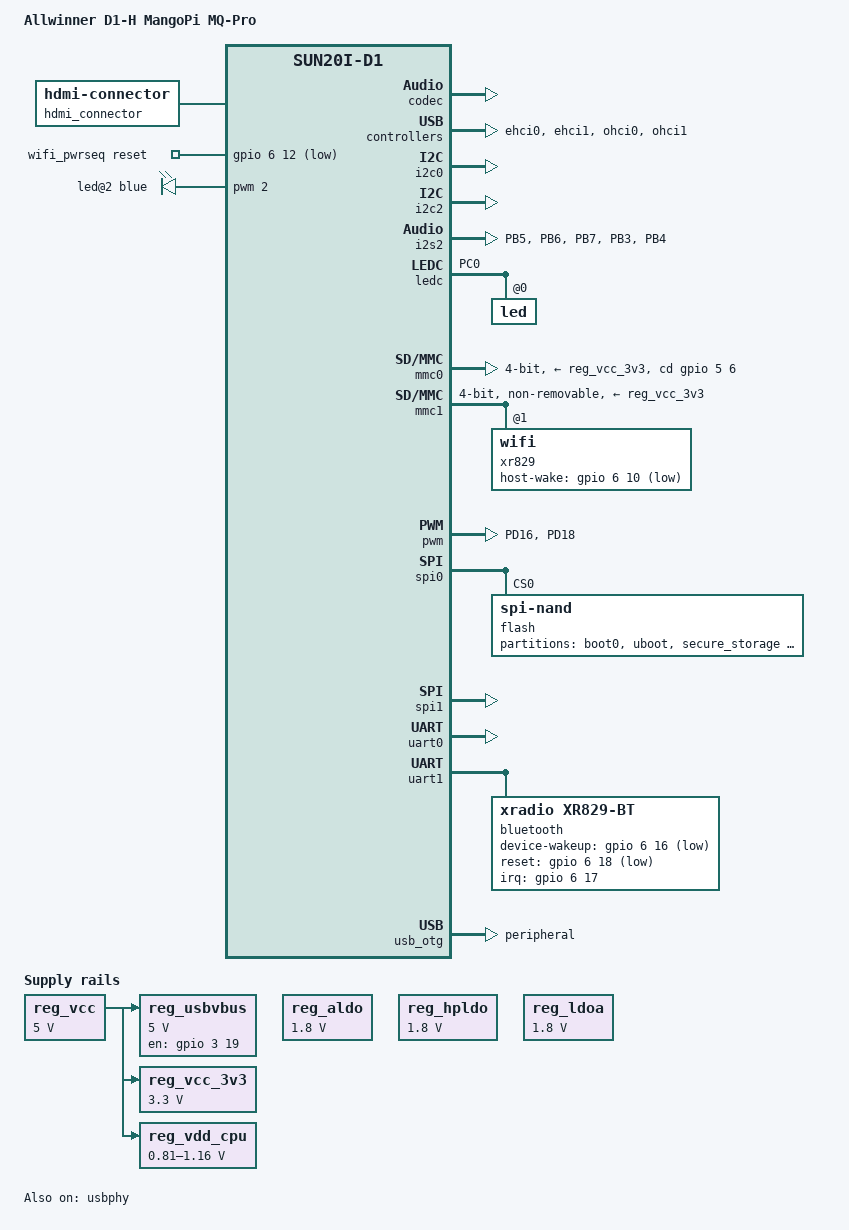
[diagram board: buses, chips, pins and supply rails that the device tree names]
// SPDX-License-Identifier: (GPL-2.0+ or MIT)
// Copyright (C) 2021 Samuel Holland <samuel@sholland.org>

/dts-v1/;

#include "sun20i-d1.dtsi"

#include <dt-bindings/gpio/gpio.h>
#include <dt-bindings/input/input.h>
#include <dt-bindings/leds/common.h>
#include <dt-bindings/pwm/pwm.h>

/ {
	model = "Allwinner D1-H MangoPi MQ-Pro";
	compatible = "allwinner,d1-mangopi-mq-pro", "allwinner,sun20i-d1";

	aliases {
		mmc0 = &mmc0;
		mmc1 = &mmc1;
		mmc2 = &mmc2;
		serial0 = &uart0;
		spi0 = &spi0;
	};

	chosen {
		stdout-path = "serial0:115200n8";
	};

	hdmi_connector: connector {
		compatible = "hdmi-connector";
		type = "a";

		port {
			hdmi_con_in: endpoint {
				// FIXME: remote-endpoint = <&hdmi_out_con>;
			};
		};
	};

	reg_usbvbus: usbvbus {
		compatible = "regulator-fixed";
		regulator-name = "usbvbus";
		regulator-min-microvolt = <5000000>;
		regulator-max-microvolt = <5000000>;
		gpio = <&gpio 3 19 GPIO_ACTIVE_HIGH>; /* PD19 */
		enable-active-high;
		vin-supply = <&reg_vcc>;
	};

	reg_vcc: vcc {
		compatible = "regulator-fixed";
		regulator-name = "vcc";
		regulator-min-microvolt = <5000000>;
		regulator-max-microvolt = <5000000>;
	};

	reg_vcc_3v3: vcc-3v3 {
		compatible = "regulator-fixed";
		regulator-name = "vcc-3v3";
		regulator-min-microvolt = <3300000>;
		regulator-max-microvolt = <3300000>;
		vin-supply = <&reg_vcc>;
	};

	reg_vdd_cpu: vdd-cpu {
		compatible = "pwm-regulator";
		pwms = <&pwm 0 50000 0>;
		pwm-supply = <&reg_vcc>;
		regulator-name = "vdd-cpu";
		regulator-min-microvolt = <810000>;
		regulator-max-microvolt = <1160000>;
	};

	wifi_pwrseq: wifi-pwrseq {
		compatible = "mmc-pwrseq-simple";
		reset-gpios = <&gpio 6 12 GPIO_ACTIVE_LOW>; /* PG12 */
	};

        pwmleds {
                compatible = "pwm-leds";

	        led@2 {
		        reg = <0x2>;
		        color = <LED_COLOR_ID_BLUE>;
		        function = LED_FUNCTION_INDICATOR;
                        pwms = <&pwm 2 50000 0>;
                        max-brightness = <255>;
                };
	};
};

&codec {
	allwinner,routing = "Headphone Jack", "HPOUTL",
			    "Headphone Jack", "HPOUTR",
			    "LINEINL", "HPOUTL",
			    "LINEINR", "HPOUTR",
			    "MICIN3", "Headset Microphone",
			    "Headset Microphone", "HBIAS";
	allwinner,widgets = "Microphone", "Headset Microphone",
			    "Headphone", "Headphone Jack";
	avcc-supply = <&reg_aldo>;
	hpvcc-supply = <&reg_hpldo>;
	vdd33-supply = <&reg_vcc_3v3>;
	status = "okay";
};

&cpu0 {
	cpu-supply = <&reg_vdd_cpu>;
};

&ehci0 {
	status = "okay";
};

&ehci1 {
	status = "okay";
};

&gpio {
	vcc-pa-supply = <&reg_vcc_3v3>;
	vcc-pb-supply = <&reg_vcc_3v3>;
	vcc-pc-supply = <&reg_vcc_3v3>;
	vcc-pd-supply = <&reg_vcc_3v3>;
	vcc-pe-supply = <&reg_vcc_3v3>;
	vcc-pf-supply = <&reg_vcc_3v3>;
	vcc-pg-supply = <&reg_vcc_3v3>;

	i2s2_pb_pins: i2s2-pb-pins {
		pins = "PB5", "PB6", "PB7";
		function = "i2s2";
	};

	i2s2_pb3_din_pin: i2s2-pb3-din-pin {
		pins = "PB3";
		function = "i2s2_din";
	};

	i2s2_pb4_dout_pin: i2s2-pb4-dout-pin {
		pins = "PB4";
		function = "i2s2_dout";
	};

	ledc_pc0_pin: ledc-pc0-pin {
		pins = "PC0";
		function = "ledc";
	};

	pwm0_pd16_pin: pwm0-pd16-pin {
		pins = "PD16";
		function = "pwm0";
	};

	pwm2_pd18_pin: pwm2-pd18-pin {
		pins = "PD18";
		function = "pwm2";
	};

	pwm7_pd22_pin: pwm7-pd22-pin {
		pins = "PD22";
		function = "pwm7";
	};

	spdif_pd22_pin: spdif-pd22-pin {
		pins = "PD22";
		function = "spdif";
	};
};

&i2c0 {
	pinctrl-0 = <&i2c0_pb10_pins>;
	pinctrl-names = "default";
	status = "okay";
};

&i2c2 {
	pinctrl-0 = <&i2c2_pb0_pins>;
	pinctrl-names = "default";
	status = "okay";
};

&i2s2 {
	pinctrl-0 = <&i2s2_pb_pins>, <&i2s2_pb3_din_pin>, <&i2s2_pb4_dout_pin>;
	pinctrl-names = "default";
	status = "okay";
};

&ledc {
	pinctrl-0 = <&ledc_pc0_pin>;
	pinctrl-names = "default";
	status = "okay";

	led@0 {
		reg = <0x0>;
		color = <LED_COLOR_ID_RGB>;
		function = LED_FUNCTION_INDICATOR;
	};
};

&mmc0 {
	bus-width = <4>;
	cd-gpios = <&gpio 5 6 GPIO_ACTIVE_HIGH>; /* PF6 */
	disable-wp;
	vmmc-supply = <&reg_vcc_3v3>;
	vqmmc-supply = <&reg_vcc_3v3>;
	pinctrl-0 = <&mmc0_pins>;
	pinctrl-names = "default";
	status = "okay";
};

&mmc1 {
	bus-width = <4>;
	mmc-pwrseq = <&wifi_pwrseq>;
	non-removable;
	vmmc-supply = <&reg_vcc_3v3>;
	vqmmc-supply = <&reg_vcc_3v3>;
	pinctrl-0 = <&mmc1_pins>;
	pinctrl-names = "default";
	status = "okay";

	xr829: wifi@1 {
		reg = <1>;
		host-wake-gpios = <&gpio 6 10 GPIO_ACTIVE_LOW>; /* PG10 */
	};
};

&ohci0 {
	status = "okay";
};

&ohci1 {
	status = "okay";
};

&pwm {
	pinctrl-0 = <&pwm0_pd16_pin>, <&pwm2_pd18_pin>;
	pinctrl-names = "default";
	status = "okay";
};

&reg_aldo {
	regulator-min-microvolt = <1800000>;
	regulator-max-microvolt = <1800000>;
	vdd33-supply = <&reg_vcc_3v3>;
};

&reg_hpldo {
	regulator-min-microvolt = <1800000>;
	regulator-max-microvolt = <1800000>;
	hpldoin-supply = <&reg_vcc_3v3>;
};

&reg_ldoa {
	regulator-always-on;
	regulator-min-microvolt = <1800000>;
	regulator-max-microvolt = <1800000>;
	ldo-in-supply = <&reg_vcc_3v3>;
};

&spi0 {
	pinctrl-0 = <&spi0_pins>;
	pinctrl-names = "default";
	status = "okay";

	flash@0 {
		compatible = "spi-nand";
		reg = <0>;

		partitions {
			compatible = "fixed-partitions";
			#address-cells = <1>;
			#size-cells = <1>;

			partition@0 {
				label = "boot0";
				reg = <0x00000000 0x00100000>;
			};

			partition@100000 {
				label = "uboot";
				reg = <0x00100000 0x00300000>;
			};

			partition@400000 {
				label = "secure_storage";
				reg = <0x00400000 0x00100000>;
			};

			partition@500000 {
				label = "sys";
				reg = <0x00500000 0x0fb00000>;
			};
		};
	};
};

&spi1 {
	pinctrl-0 = <&spi1_pd_pins>;
	pinctrl-names = "default";
	status = "okay";
};

&ths {
	vref-supply = <&reg_aldo>;
};

&uart0 {
	pinctrl-0 = <&uart0_pb8_pins>;
	pinctrl-names = "default";
	status = "okay";
};

&uart1 {
	pinctrl-0 = <&uart1_pg6_pins>, <&uart1_pg8_rts_cts_pins>;
	pinctrl-names = "default";
	status = "okay";

	bluetooth {
		compatible = "xradio,xr829-bt";
		device-wakeup-gpios = <&gpio 6 16 GPIO_ACTIVE_LOW>; /* PG16 */
		interrupts-extended = <&gpio 6 17 IRQ_TYPE_LEVEL_LOW>; /* PG17 */
		interrupt-names = "wakeup";
		reset-gpios = <&gpio 6 18 GPIO_ACTIVE_LOW>; /* PG18 */
	};
};

&usb_otg {
	dr_mode = "peripheral";
	status = "okay";
};

&usbphy {
	usb0_id_det-gpios = <&gpio 3 21 GPIO_ACTIVE_LOW>; /* PD21 */
	usb0_vbus_det-gpios = <&gpio 3 20 GPIO_ACTIVE_HIGH>; /* PD20 */
	usb0_vbus-supply = <&reg_usbvbus>;
	usb1_vbus-supply = <&reg_vcc>;
	status = "okay";
};
